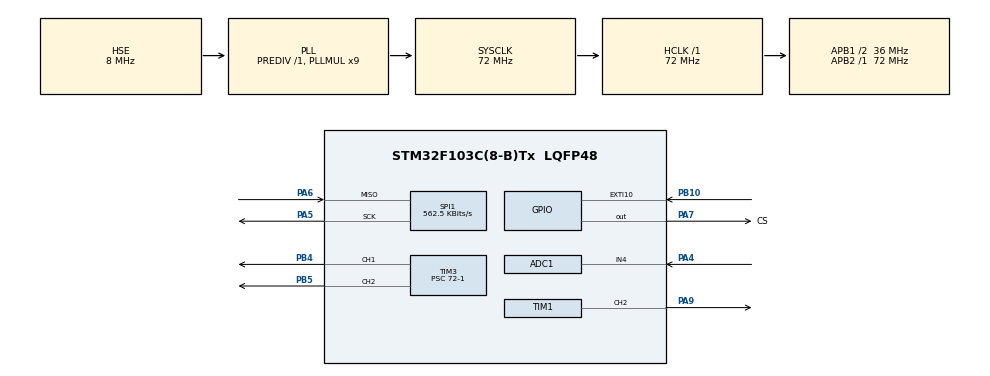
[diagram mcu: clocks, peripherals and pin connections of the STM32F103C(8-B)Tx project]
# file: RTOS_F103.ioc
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ADC1.Channel-0\#ChannelRegularConversion=ADC_CHANNEL_4
ADC1.ContinuousConvMode=ENABLE
ADC1.NbrOfConversionFlag=1
ADC1.Rank-0\#ChannelRegularConversion=1
ADC1.SamplingTime-0\#ChannelRegularConversion=ADC_SAMPLETIME_13CYCLES_5
ADC1.master=1
FREERTOS.Tasks01=ADC_Task,17,128,StartDefaultTask,Default,NULL,Dynamic,NULL,NULL;MAX6675_SPI_Tas,48,128,StartTask02,Default,NULL,Dynamic,NULL,NULL
FREERTOS.configUSE_PREEMPTION=1
Mcu.Family=STM32F1
Mcu.Name=STM32F103C(8-B)Tx
Mcu.Package=LQFP48
NVIC.ADC1_2_IRQn=true\:0\:0\:false\:false\:true\:true\:true\:true
NVIC.EXTI15_10_IRQn=true\:0\:0\:false\:false\:true\:false\:true\:true
NVIC.PriorityGroup=NVIC_PRIORITYGROUP_4
NVIC.TIM1_UP_IRQn=true\:0\:0\:false\:false\:true\:true\:true\:true
NVIC.TIM4_IRQn=true\:0\:0\:false\:false\:true\:false\:false\:true
NVIC.TimeBase=TIM4_IRQn
NVIC.TimeBaseIP=TIM4
PA13.Mode=Serial_Wire
PA13.Signal=SYS_JTMS-SWDIO
PA14.Mode=Serial_Wire
PA14.Signal=SYS_JTCK-SWCLK
PA4.Signal=ADCx_IN4
PA5.Mode=RX_Only_Simplex_Unidirect_Master
PA5.Signal=SPI1_SCK
PA6.GPIO_PuPd=GPIO_PULLDOWN
PA6.Mode=RX_Only_Simplex_Unidirect_Master
PA6.Signal=SPI1_MISO
PA7.GPIO_Label=CS
PA7.Signal=GPIO_Output
PA9.Signal=S_TIM1_CH2
PB10.GPIO_ModeDefaultEXTI=GPIO_MODE_IT_RISING_FALLING
PB10.Signal=GPXTI10
PB4.Signal=S_TIM3_CH1
PB5.Signal=S_TIM3_CH2
PD0-OSC_IN.Mode=HSE-External-Oscillator
PD0-OSC_IN.Signal=RCC_OSC_IN
PD1-OSC_OUT.Mode=HSE-External-Oscillator
PD1-OSC_OUT.Signal=RCC_OSC_OUT
ProjectManager.HeapSize=0x200
ProjectManager.StackSize=0x400
ProjectManager.TargetToolchain=MDK-ARM V5.27
RCC.ADCPresc=RCC_ADCPCLK2_DIV6
RCC.AHBFreq_Value=72000000
RCC.APB1CLKDivider=RCC_HCLK_DIV2
RCC.APB1Freq_Value=36000000
RCC.APB1TimFreq_Value=72000000
RCC.APB2Freq_Value=72000000
RCC.APB2TimFreq_Value=72000000
RCC.HCLKFreq_Value=72000000
RCC.PLLMUL=RCC_PLL_MUL9
RCC.PLLSourceVirtual=RCC_PLLSOURCE_HSE
RCC.SYSCLKFreq_VALUE=72000000
RCC.SYSCLKSource=RCC_SYSCLKSOURCE_PLLCLK
RCC.USBFreq_Value=72000000
SH.ADCx_IN4.0=ADC1_IN4,IN4
SH.S_TIM1_CH2.0=TIM1_CH2,PWM Generation2 CH2
SH.S_TIM3_CH1.0=TIM3_CH1,PWM Generation1 CH1
SH.S_TIM3_CH2.0=TIM3_CH2,PWM Generation2 CH2
SPI1.BaudRatePrescaler=SPI_BAUDRATEPRESCALER_128
SPI1.CalculateBaudRate=562.5 KBits/s
SPI1.Direction=SPI_DIRECTION_2LINES_RXONLY
SPI1.Mode=SPI_MODE_MASTER
SPI1.VirtualType=VM_MASTER
TIM1.Channel-PWM\ Generation2\ CH2=TIM_CHANNEL_2
TIM1.OC2Preload_PWM=DISABLE
TIM1.OCMode_PWM-PWM\ Generation2\ CH2=TIM_OCMODE_PWM2
TIM1.Period=9799
TIM1.Prescaler=72-1
TIM3.Channel-PWM\ Generation1\ CH1=TIM_CHANNEL_1
TIM3.Channel-PWM\ Generation2\ CH2=TIM_CHANNEL_2
TIM3.OC1Preload_PWM=ENABLE
TIM3.OC2Preload_PWM=ENABLE
TIM3.Period=20000-1
TIM3.Prescaler=72-1
TIM3.Pulse-PWM\ Generation1\ CH1=10000-1
TIM3.Pulse-PWM\ Generation2\ CH2=10000-1
VP_FREERTOS_VS_CMSIS_V2.Mode=CMSIS_V2
VP_SYS_VS_tim4.Mode=TIM4
VP_TIM1_VS_ClockSourceINT.Mode=Internal
VP_TIM3_VS_ClockSourceINT.Mode=Internal
board=custom

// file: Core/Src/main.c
/* USER CODE BEGIN Header */
/**
  ******************************************************************************
  * @file           : main.c
  * @brief          : Main program body
  ******************************************************************************
  * @attention
  *
  * <h2><center>&copy; Copyright (c) 2020 STMicroelectronics.
  * All rights reserved.</center></h2>
  *
  * This software component is licensed by ST under Ultimate Liberty license
  * SLA0044, the "License"; You may not use this file except in compliance with
  * the License. You may obtain a copy of the License at:
  *                             www.st.com/SLA0044
  *
  ******************************************************************************
  */
/* USER CODE END Header */
#include "main.h"
#include "cmsis_os.h"

ADC_HandleTypeDef hadc1;

SPI_HandleTypeDef hspi1;

TIM_HandleTypeDef htim1;
TIM_HandleTypeDef htim3;

/* Definitions for ADC_Task */
osThreadId_t ADC_TaskHandle;
const osThreadAttr_t ADC_Task_attributes = {
  .name = "ADC_Task",
  .priority = (osPriority_t) osPriorityBelowNormal1,
  .stack_size = 128 * 4
};
/* Definitions for MAX6675_SPI_Tas */
osThreadId_t MAX6675_SPI_TasHandle;
const osThreadAttr_t MAX6675_SPI_Tas_attributes = {
  .name = "MAX6675_SPI_Tas",
  .priority = (osPriority_t) osPriorityRealtime,
  .stack_size = 128 * 4
};
/* USER CODE BEGIN PV */
//ADC Variables
unsigned long ADC_Results[4];
unsigned char SampleADC;
uint32_t sample = 0;
unsigned int ADC_Sample_Counter;
unsigned long Avg_vBUS, Avg_vPOT;
unsigned int Desired_Temp;
//Closed Loop Variables
unsigned int Desired_PWM_DutyCycle, PWM_Update_Counter;
unsigned char PID_Execute_Counter, ExecutePID;
unsigned int Expected_Hall_ISRs_1sec;
unsigned int Expected_Temp, Measured_Temp, JJ[100],j=0;
signed int s16_Proportional_Error, s16_Integral_Error, s16_PID_ControlLoop_Output;
unsigned int PID_Applied_PWM_DutyCycle;
unsigned int Kp, Ki;
//SPI Variables
unsigned char SampleTemperature,Spi_Ready;
unsigned int SPI_Sample_Counter;
uint8_t spirx_buff[2];
uint16_t temp=0;
//uint16_t temperature=0;
unsigned char spi_recv_flag;
/* USER CODE END PV */

void SystemClock_Config(void);
static void MX_GPIO_Init(void);
static void MX_ADC1_Init(void);
static void MX_SPI1_Init(void);
static void MX_TIM3_Init(void);
static void MX_TIM1_Init(void);
void StartDefaultTask(void *argument);
void StartTask02(void *argument);

/* USER CODE BEGIN PFP */
void Start_ADC_Conversion(void)
{
   //ADC_Results[0] = 0x0;
   //ADC_Results[1] = 0x0;
	 if(HAL_OK != HAL_ADC_Start_IT(&hadc1))
		Error_Handler();

}
/* USER CODE END PFP */

int main(void)
{

  /* MCU Configuration--------------------------------------------------------*/

  /* Reset of all peripherals, Initializes the Flash interface and the Systick. */
  HAL_Init();

  /* Configure the system clock */
  SystemClock_Config();

  /* Initialize all configured peripherals */
  //MX_GPIO_Init();
  MX_ADC1_Init();
  MX_SPI1_Init();
  MX_TIM3_Init();
  MX_TIM1_Init();
  /* USER CODE BEGIN 2 */
	MX_GPIO_Init();
	if(HAL_TIM_PWM_Start(&htim3,TIM_CHANNEL_1)!= HAL_OK)
	{
	Error_Handler();
	}
	if(HAL_TIM_PWM_Start(&htim3,TIM_CHANNEL_2)!= HAL_OK)
	{
	Error_Handler();
	}
  /* USER CODE END 2 */

  /* Init scheduler */
  osKernelInitialize();

  /* Create the thread(s) */
  /* creation of ADC_Task */
  ADC_TaskHandle = osThreadNew(StartDefaultTask, NULL, &ADC_Task_attributes);

  /* creation of MAX6675_SPI_Tas */
  MAX6675_SPI_TasHandle = osThreadNew(StartTask02, NULL, &MAX6675_SPI_Tas_attributes);

  /* Start scheduler */
  osKernelStart();

  /* We should never get here as control is now taken by the scheduler */
  /* Infinite loop */
  while (1)
  {

  }
}

void SystemClock_Config(void)
{
  RCC_OscInitTypeDef RCC_OscInitStruct = {0};
  RCC_ClkInitTypeDef RCC_ClkInitStruct = {0};
  RCC_PeriphCLKInitTypeDef PeriphClkInit = {0};

  /** Initializes the RCC Oscillators according to the specified parameters
  * in the RCC_OscInitTypeDef structure.
  */
  RCC_OscInitStruct.OscillatorType = RCC_OSCILLATORTYPE_HSE;
  RCC_OscInitStruct.HSEState = RCC_HSE_ON;
  RCC_OscInitStruct.HSEPredivValue = RCC_HSE_PREDIV_DIV1;
  RCC_OscInitStruct.HSIState = RCC_HSI_ON;
  RCC_OscInitStruct.PLL.PLLState = RCC_PLL_ON;
  RCC_OscInitStruct.PLL.PLLSource = RCC_PLLSOURCE_HSE;
  RCC_OscInitStruct.PLL.PLLMUL = RCC_PLL_MUL9;
  if (HAL_RCC_OscConfig(&RCC_OscInitStruct) != HAL_OK)
  {
    Error_Handler();
  }
  /** Initializes the CPU, AHB and APB buses clocks
  */
  RCC_ClkInitStruct.ClockType = RCC_CLOCKTYPE_HCLK|RCC_CLOCKTYPE_SYSCLK
                              |RCC_CLOCKTYPE_PCLK1|RCC_CLOCKTYPE_PCLK2;
  RCC_ClkInitStruct.SYSCLKSource = RCC_SYSCLKSOURCE_PLLCLK;
  RCC_ClkInitStruct.AHBCLKDivider = RCC_SYSCLK_DIV1;
  RCC_ClkInitStruct.APB1CLKDivider = RCC_HCLK_DIV2;
  RCC_ClkInitStruct.APB2CLKDivider = RCC_HCLK_DIV1;

  if (HAL_RCC_ClockConfig(&RCC_ClkInitStruct, FLASH_LATENCY_2) != HAL_OK)
  {
    Error_Handler();
  }
  PeriphClkInit.PeriphClockSelection = RCC_PERIPHCLK_ADC;
  PeriphClkInit.AdcClockSelection = RCC_ADCPCLK2_DIV6;
  if (HAL_RCCEx_PeriphCLKConfig(&PeriphClkInit) != HAL_OK)
  {
    Error_Handler();
  }
}

static void MX_ADC1_Init(void)
{

  ADC_ChannelConfTypeDef sConfig = {0};

  /** Common config
  */
  hadc1.Instance = ADC1;
  hadc1.Init.ScanConvMode = ADC_SCAN_DISABLE;
  hadc1.Init.ContinuousConvMode = ENABLE;
  hadc1.Init.DiscontinuousConvMode = DISABLE;
  hadc1.Init.ExternalTrigConv = ADC_SOFTWARE_START;
  hadc1.Init.DataAlign = ADC_DATAALIGN_RIGHT;
  hadc1.Init.NbrOfConversion = 1;
  if (HAL_ADC_Init(&hadc1) != HAL_OK)
  {
    Error_Handler();
  }
  /** Configure Regular Channel
  */
  sConfig.Channel = ADC_CHANNEL_4;
  sConfig.Rank = ADC_REGULAR_RANK_1;
  sConfig.SamplingTime = ADC_SAMPLETIME_13CYCLES_5;
  if (HAL_ADC_ConfigChannel(&hadc1, &sConfig) != HAL_OK)
  {
    Error_Handler();
  }

}

static void MX_SPI1_Init(void)
{

  /* SPI1 parameter configuration*/
  hspi1.Instance = SPI1;
  hspi1.Init.Mode = SPI_MODE_MASTER;
  hspi1.Init.Direction = SPI_DIRECTION_2LINES_RXONLY;
  hspi1.Init.DataSize = SPI_DATASIZE_8BIT;
  hspi1.Init.CLKPolarity = SPI_POLARITY_LOW;
  hspi1.Init.CLKPhase = SPI_PHASE_1EDGE;
  hspi1.Init.NSS = SPI_NSS_SOFT;
  hspi1.Init.BaudRatePrescaler = SPI_BAUDRATEPRESCALER_128;
  hspi1.Init.FirstBit = SPI_FIRSTBIT_MSB;
  hspi1.Init.TIMode = SPI_TIMODE_DISABLE;
  hspi1.Init.CRCCalculation = SPI_CRCCALCULATION_DISABLE;
  hspi1.Init.CRCPolynomial = 10;
  if (HAL_SPI_Init(&hspi1) != HAL_OK)
  {
    Error_Handler();
  }

}

static void MX_TIM1_Init(void)
{

  TIM_ClockConfigTypeDef sClockSourceConfig = {0};
  TIM_MasterConfigTypeDef sMasterConfig = {0};
  TIM_OC_InitTypeDef sConfigOC = {0};
  TIM_BreakDeadTimeConfigTypeDef sBreakDeadTimeConfig = {0};

  htim1.Instance = TIM1;
  htim1.Init.Prescaler = 72-1;
  htim1.Init.CounterMode = TIM_COUNTERMODE_UP;
  htim1.Init.Period = 9799;
  htim1.Init.ClockDivision = TIM_CLOCKDIVISION_DIV1;
  htim1.Init.RepetitionCounter = 0;
  htim1.Init.AutoReloadPreload = TIM_AUTORELOAD_PRELOAD_DISABLE;
  if (HAL_TIM_Base_Init(&htim1) != HAL_OK)
  {
    Error_Handler();
  }
  sClockSourceConfig.ClockSource = TIM_CLOCKSOURCE_INTERNAL;
  if (HAL_TIM_ConfigClockSource(&htim1, &sClockSourceConfig) != HAL_OK)
  {
    Error_Handler();
  }
  if (HAL_TIM_PWM_Init(&htim1) != HAL_OK)
  {
    Error_Handler();
  }
  sMasterConfig.MasterOutputTrigger = TIM_TRGO_RESET;
  sMasterConfig.MasterSlaveMode = TIM_MASTERSLAVEMODE_DISABLE;
  if (HAL_TIMEx_MasterConfigSynchronization(&htim1, &sMasterConfig) != HAL_OK)
  {
    Error_Handler();
  }
  sConfigOC.OCMode = TIM_OCMODE_PWM2;
  sConfigOC.Pulse = 0;
  sConfigOC.OCPolarity = TIM_OCPOLARITY_HIGH;
  sConfigOC.OCNPolarity = TIM_OCNPOLARITY_HIGH;
  sConfigOC.OCFastMode = TIM_OCFAST_DISABLE;
  sConfigOC.OCIdleState = TIM_OCIDLESTATE_RESET;
  sConfigOC.OCNIdleState = TIM_OCNIDLESTATE_RESET;
  if (HAL_TIM_PWM_ConfigChannel(&htim1, &sConfigOC, TIM_CHANNEL_2) != HAL_OK)
  {
    Error_Handler();
  }
  __HAL_TIM_DISABLE_OCxPRELOAD(&htim1, TIM_CHANNEL_2);
  sBreakDeadTimeConfig.OffStateRunMode = TIM_OSSR_DISABLE;
  sBreakDeadTimeConfig.OffStateIDLEMode = TIM_OSSI_DISABLE;
  sBreakDeadTimeConfig.LockLevel = TIM_LOCKLEVEL_OFF;
  sBreakDeadTimeConfig.DeadTime = 0;
  sBreakDeadTimeConfig.BreakState = TIM_BREAK_DISABLE;
  sBreakDeadTimeConfig.BreakPolarity = TIM_BREAKPOLARITY_HIGH;
  sBreakDeadTimeConfig.AutomaticOutput = TIM_AUTOMATICOUTPUT_DISABLE;
  if (HAL_TIMEx_ConfigBreakDeadTime(&htim1, &sBreakDeadTimeConfig) != HAL_OK)
  {
    Error_Handler();
  }
  HAL_TIM_MspPostInit(&htim1);

}

static void MX_TIM3_Init(void)
{

  TIM_ClockConfigTypeDef sClockSourceConfig = {0};
  TIM_MasterConfigTypeDef sMasterConfig = {0};
  TIM_OC_InitTypeDef sConfigOC = {0};

  htim3.Instance = TIM3;
  htim3.Init.Prescaler = 72-1;
  htim3.Init.CounterMode = TIM_COUNTERMODE_UP;
  htim3.Init.Period = 20000-1;
  htim3.Init.ClockDivision = TIM_CLOCKDIVISION_DIV1;
  htim3.Init.AutoReloadPreload = TIM_AUTORELOAD_PRELOAD_DISABLE;
  if (HAL_TIM_Base_Init(&htim3) != HAL_OK)
  {
    Error_Handler();
  }
  sClockSourceConfig.ClockSource = TIM_CLOCKSOURCE_INTERNAL;
  if (HAL_TIM_ConfigClockSource(&htim3, &sClockSourceConfig) != HAL_OK)
  {
    Error_Handler();
  }
  if (HAL_TIM_PWM_Init(&htim3) != HAL_OK)
  {
    Error_Handler();
  }
  sMasterConfig.MasterOutputTrigger = TIM_TRGO_RESET;
  sMasterConfig.MasterSlaveMode = TIM_MASTERSLAVEMODE_DISABLE;
  if (HAL_TIMEx_MasterConfigSynchronization(&htim3, &sMasterConfig) != HAL_OK)
  {
    Error_Handler();
  }
  sConfigOC.OCMode = TIM_OCMODE_PWM1;
  sConfigOC.Pulse = 10000-1;
  sConfigOC.OCPolarity = TIM_OCPOLARITY_HIGH;
  sConfigOC.OCFastMode = TIM_OCFAST_DISABLE;
  if (HAL_TIM_PWM_ConfigChannel(&htim3, &sConfigOC, TIM_CHANNEL_1) != HAL_OK)
  {
    Error_Handler();
  }
  if (HAL_TIM_PWM_ConfigChannel(&htim3, &sConfigOC, TIM_CHANNEL_2) != HAL_OK)
  {
    Error_Handler();
  }
  HAL_TIM_MspPostInit(&htim3);

}

static void MX_GPIO_Init(void)
{
  GPIO_InitTypeDef GPIO_InitStruct = {0};

  /* GPIO Ports Clock Enable */
  __HAL_RCC_GPIOD_CLK_ENABLE();
  __HAL_RCC_GPIOA_CLK_ENABLE();
  __HAL_RCC_GPIOB_CLK_ENABLE();

  /*Configure GPIO pin Output Level */
  HAL_GPIO_WritePin(CS_GPIO_Port, CS_Pin, GPIO_PIN_RESET);

  /*Configure GPIO pin : CS_Pin */
  GPIO_InitStruct.Pin = CS_Pin;
  GPIO_InitStruct.Mode = GPIO_MODE_OUTPUT_PP;
  GPIO_InitStruct.Pull = GPIO_NOPULL;
  GPIO_InitStruct.Speed = GPIO_SPEED_FREQ_LOW;
  HAL_GPIO_Init(CS_GPIO_Port, &GPIO_InitStruct);

  /*Configure GPIO pin : PB10 */
  GPIO_InitStruct.Pin = GPIO_PIN_10;
  GPIO_InitStruct.Mode = GPIO_MODE_IT_RISING_FALLING;
  GPIO_InitStruct.Pull = GPIO_NOPULL;
  HAL_GPIO_Init(GPIOB, &GPIO_InitStruct);

  /* EXTI interrupt init*/
  HAL_NVIC_SetPriority(EXTI15_10_IRQn, 0, 0);
  HAL_NVIC_EnableIRQ(EXTI15_10_IRQn);

}

/* USER CODE BEGIN 4 */

void HAL_ADC_ConvCpltCallback(ADC_HandleTypeDef* hadc)
{

	ADC_Results[1] = HAL_ADC_GetValue(&hadc1);            // Move results
  sample=sample+1;

	if (1)
    {
      if(HAL_OK != HAL_ADC_Stop_IT(&hadc1))
			Error_Handler();

			sample = 0;
		}
}
/* USER CODE END 4 */

void StartDefaultTask(void *argument)
{
  /* USER CODE BEGIN 5 */
  /* Infinite loop */
  for(;;)
  {
		Avg_vPOT = ADC_Results[1] ;
    Desired_PWM_DutyCycle = Avg_vPOT*2.45;
		Expected_Temp = Avg_vPOT*0.0625;
    Start_ADC_Conversion();
    osDelay(1);

    if (Desired_PWM_DutyCycle < LOW_KP_KI_DUTYCYCLE)   // Dutycycle threshold which requires different Kp/Ki values
    {
        Kp = 500;
        Ki = 3;
    }
    else
    {
        Kp = 4000;
        Ki = 5;
    }

		/////////////PID/////////////////////////////////////////////////////////
		if(ExecutePID == true)
      {

          // Compute Proportional and Integral Errors
          s16_Proportional_Error = Expected_Temp - Measured_Temp;
          s16_Proportional_Error = (-1)*(s16_Proportional_Error);			// signed int P error = desired-actual
          s16_Integral_Error += s16_Proportional_Error;                                 // signed int I error = Accumulate P errors

          s16_PID_ControlLoop_Output = ((((long)Kp*(long)s16_Proportional_Error) + (((long)Ki*(long)s16_Integral_Error))) >> 14);
                                                                            // PID Control Loop Equation; Kd = 0

          PID_Applied_PWM_DutyCycle = Desired_PWM_DutyCycle + (s16_PID_ControlLoop_Output);
          JJ[j++] = PID_Applied_PWM_DutyCycle;
          if(j>100)
            j=0;

          if (PID_Applied_PWM_DutyCycle < MIN_PWM_DUTYCYCLE)   // 1023
          {
              PID_Applied_PWM_DutyCycle = MIN_PWM_DUTYCYCLE;   // < Min DutyCycle %age - latch to min value, 1023
              s16_Integral_Error = 0x0;
          }
          if (PID_Applied_PWM_DutyCycle > TIMER_PWM_PERIOD)   // 1023
          {
              PID_Applied_PWM_DutyCycle = TIMER_PWM_PERIOD;   // > Max PWM DutyCycle - latch to 100% or max value, 1023
              s16_Integral_Error = 0x0;
          }

					PID_Applied_PWM_DutyCycle=Desired_PWM_DutyCycle;
          // Initialize PWM outputs with initial dutycycle counts
          htim1.Instance->CCR2 = PID_Applied_PWM_DutyCycle;
					ExecutePID = false;
      }
		/////////////PID/////////////////////////////////////////////////////////
  }
  /* USER CODE END 5 */
}

void StartTask02(void *argument)
{
  /* USER CODE BEGIN StartTask02 */
  /* Infinite loop */
  for(;;)
  {
		HAL_GPIO_WritePin(GPIOA,GPIO_PIN_7,GPIO_PIN_RESET);
  osDelay(1);
	if(HAL_SPI_Receive(&hspi1,(uint8_t *)spirx_buff,2,20)!= HAL_OK)
			{
				Error_Handler();
				HAL_GPIO_TogglePin(GPIOC,GPIO_PIN_13);
			}
	HAL_GPIO_WritePin(GPIOA,GPIO_PIN_7,GPIO_PIN_SET);
	temp =  spirx_buff[0]<<8;
	temp =  temp|spirx_buff[1];
	temp = temp>>3;
	Measured_Temp = temp*0.25;
    osDelay(500);
  }
  /* USER CODE END StartTask02 */
}

void HAL_TIM_PeriodElapsedCallback(TIM_HandleTypeDef *htim)
{
  if (htim->Instance == TIM4) {
    HAL_IncTick();
  }
  /* USER CODE BEGIN Callback 1 */
  if (htim->Instance == TIM1) {
		HAL_TIM_PWM_Stop(&htim1,TIM_CHANNEL_2);
		HAL_TIM_Base_Stop_IT(&htim1);
	}
  /* USER CODE END Callback 1 */
}

void Error_Handler(void)
{
}

/************************ (C) COPYRIGHT STMicroelectronics *****END OF FILE****/
